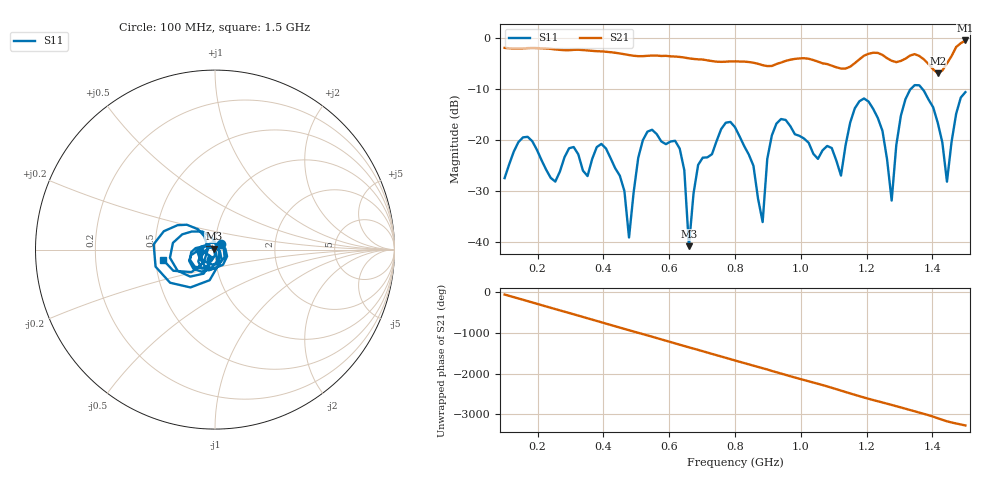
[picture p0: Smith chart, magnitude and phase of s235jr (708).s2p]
! NanoVNA-App
! Date: 2025-09-25 15:09:41
! Start: 100MHz Stop: 1,5GHz Points: 101
! S-Parameter data: F S11 S21 S12 S22
# Hz S RI R 50
!  Frequency  S11_Real  S11_Imag  S21_Real  S21_Imag  S12_Real  S12_Imag  S22_Real  S22_Imag
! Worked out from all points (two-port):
!   101 points, 100 MHz to 1.5 GHz, reference 50 ohm
!   highest |S21| = -0.51 dB at 1.5 GHz (marker M1); lowest = -6.9 dB at 1.416 GHz (marker M2)
!   |S21| within 3 dB of the highest: start of sweep to 492.5 MHz; 1.192 GHz to 1.252 GHz (59.93 MHz wide, 4.91 % of centre)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
!   lowest |S11| = -40.8 dB at 660 MHz (marker M3), VSWR 1.02, Z = 49.3 + j0.541 ohm
!   |S11| at or under -10 dB: start of sweep to 1.334 GHz; 1.369 GHz to end of sweep
!   S12 and S22 are empty: the file has one direction only
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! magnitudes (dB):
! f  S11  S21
! 100 MHz  -27.5  -2.0
! 170 MHz  -19.4  -2.0
! 338 MHz  -26.0  -2.4
! 408 MHz  -21.7  -2.7
! 478 MHz  -39.1  -3.4
! 520 MHz  -20.0  -3.6
! 576 MHz  -20.3  -3.5
! 632 MHz  -21.7  -3.7
! 660 MHz  -40.8  -4.0
! 688 MHz  -24.9  -4.2
! 800 MHz  -17.5  -4.6
! 884 MHz  -36.1  -5.3
! 926 MHz  -16.8  -5.1
! 1.038 GHz  -22.7  -4.3
! 1.122 GHz  -27.0  -6.0
! 1.192 GHz  -11.9  -3.5
! 1.248 GHz  -18.2  -3.3
! 1.276 GHz  -31.9  -4.5
! 1.332 GHz  -10.1  -3.5
! 1.416 GHz  -16.6  -6.9
! 1.444 GHz  -28.2  -5.0
! 1.5 GHz  -10.6  -0.5
